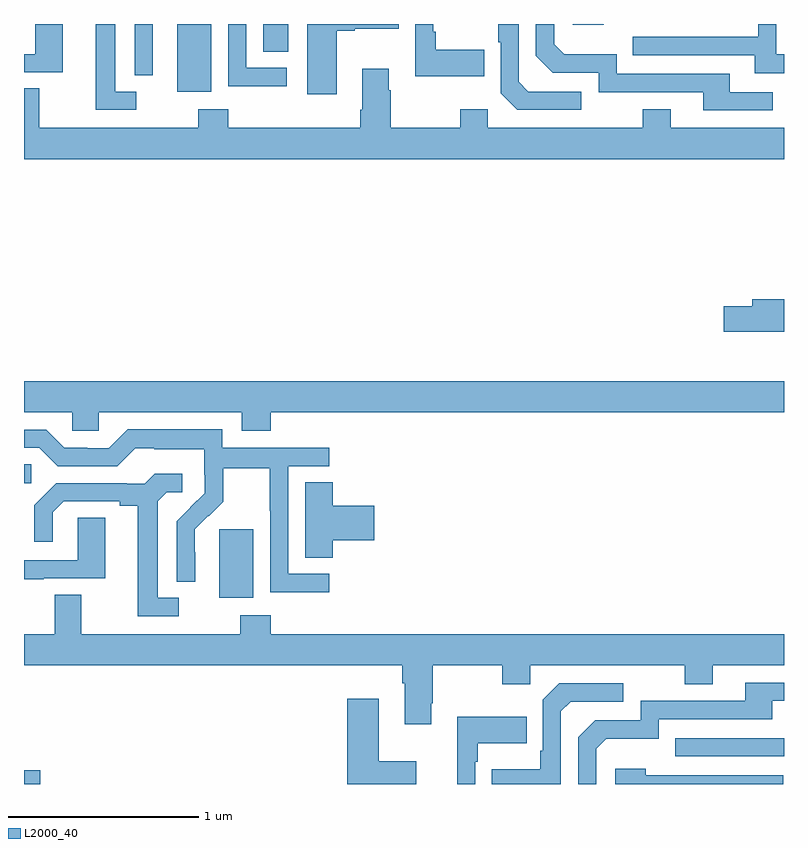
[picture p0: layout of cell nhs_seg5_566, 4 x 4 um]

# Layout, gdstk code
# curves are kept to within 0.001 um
import gdstk
lib = gdstk.Library(unit=1e-6, precision=1e-09)
def R(c, l, rs):  # rectangles x0, y0, x1, y1
    for r in rs: c.add(gdstk.rectangle(r[:2], r[2:], *l))
def P(c, l, *ps):  # polygons
    for p in ps: c.add(gdstk.Polygon(p, *l))
L2000_40 = (2000, 40)

nhs_seg5_566 = lib.new_cell('nhs_seg5_566')
R(nhs_seg5_566, L2000_40, [(147,858.799,147.085,858.872), (150.427,858.945,151,859.041), (148.028,859.778,148.207,860.139), (147,860.382,147.037,860.483), (147.806,862.442,147.985,862.799), (148.259,862.654,148.39,862.799), (149.889,862.796,150.05,862.799)])
P(nhs_seg5_566, L2000_40, [(150.94,862.44),(150.715,862.44),(150.715,862.536),(150.12,862.536),(150.12,862.639),(149.843,862.639),(149.79,862.692),(149.79,862.799),(149.694,862.799),(149.694,862.632),(149.784,862.542),(150.024,862.542),(150.024,862.44),(150.575,862.44),(150.575,862.344),(150.94,862.344)],
  [(151,862.641),(150.96,862.641),(150.96,862.799),(150.864,862.799),(150.864,862.731),(150.205,862.731),(150.205,862.635),(150.845,862.635),(150.845,862.541),(151,862.541)],
  [(149.932,862.443),(149.655,862.443),(149.604,862.494),(149.604,862.799),(149.496,862.799),(149.496,862.703),(149.508,862.703),(149.508,862.434),(149.595,862.347),(149.932,862.347)],
  [(147.205,862.799),(147.06,862.799),(147.06,862.641),(147,862.641),(147,862.545),(147.205,862.545)],
  [(148.645,862.763),(148.741,862.763),(148.741,862.775),(148.972,862.775),(148.972,862.799),(148.49,862.799),(148.49,862.428),(148.645,862.428)],
  [(148.384,862.569),(148.17,862.569),(148.17,862.799),(148.074,862.799),(148.074,862.471),(148.384,862.471)],
  [(147.678,862.682),(147.677,862.682),(147.677,862.799),(147.582,862.799),(147.582,862.528),(147.678,862.528)],
  [(149.423,862.663),(149.167,862.663),(149.167,862.759),(149.154,862.759),(149.154,862.799),(149.058,862.799),(149.058,862.523),(149.423,862.523)],
  [(147.592,862.443),(147.481,862.443),(147.481,862.799),(147.377,862.799),(147.377,862.347),(147.592,862.347)],
  [(151,862.252),(150.403,862.252),(150.403,862.351),(150.256,862.351),(150.256,862.252),(149.442,862.252),(149.442,862.351),(149.296,862.351),(149.296,862.252),(148.929,862.252),(148.929,862.451),(148.921,862.451),(148.921,862.564),(148.781,862.564),(148.781,862.348),(148.769,862.348),(148.769,862.252),(148.076,862.252),(148.076,862.351),(147.916,862.351),(147.916,862.252),(147.079,862.252),(147.079,862.46),(147,862.46),(147,862.088),(151,862.088)],
  [(151,861.35),(150.833,861.35),(150.833,861.314),(150.684,861.314),(150.684,861.179),(151,861.179)],
  [(148.298,860.756),(151,860.756),(151,860.92),(147,860.92),(147,860.756),(147.255,860.756),(147.255,860.658),(147.393,860.658),(147.393,860.756),(148.145,860.756),(148.145,860.657),(148.298,860.657)],
  [(148.606,859.905),(148.392,859.905),(148.392,860.472),(148.606,860.472),(148.606,860.568),(148.044,860.568),(148.044,860.665),(147.547,860.665),(147.447,860.565),(147.332,860.565),(147.332,860.568),(147.213,860.568),(147.117,860.664),(147,860.664),(147,860.568),(147.081,860.568),(147.177,860.472),(147.492,860.472),(147.585,860.565),(147.685,860.565),(147.685,860.561),(147.948,860.561),(147.948,860.427),(147.95,860.427),(147.95,860.33),(147.804,860.182),(147.804,859.864),(147.9,859.864),(147.899,860.141),(147.969,860.211),(147.972,860.208),(148.049,860.285),(148.049,860.46),(148.294,860.46),(148.294,860.236),(148.296,860.236),(148.296,859.807),(148.606,859.807)],
  [(147.814,859.779),(147.703,859.779),(147.703,860.287),(147.75,860.334),(147.832,860.334),(147.832,860.431),(147.688,860.431),(147.636,860.379),(147.542,860.379),(147.542,860.382),(147.17,860.382),(147.054,860.266),(147.054,860.073),(147.151,860.073),(147.151,860.229),(147.208,860.286),(147.503,860.286),(147.503,860.264),(147.599,860.264),(147.599,859.683),(147.814,859.683)],
  [(148.625,860.081),(148.843,860.081),(148.843,860.264),(148.625,860.264),(148.625,860.387),(148.481,860.387),(148.481,859.99),(148.625,859.99)],
  [(147.103,859.881),(147.427,859.881),(147.427,860.201),(147.282,860.201),(147.282,859.977),(147,859.977),(147,859.877),(147.103,859.877)],
  [(149.143,859.225),(149.151,859.225),(149.151,859.424),(149.518,859.424),(149.518,859.325),(149.664,859.325),(149.664,859.424),(150.478,859.424),(150.478,859.325),(150.625,859.325),(150.625,859.424),(151,859.424),(151,859.588),(148.298,859.588),(148.298,859.687),(148.138,859.687),(148.138,859.588),(147.301,859.588),(147.301,859.796),(147.161,859.796),(147.161,859.588),(147,859.588),(147,859.424),(148.991,859.424),(148.991,859.328),(149.003,859.328),(149.003,859.113),(149.143,859.113)],
  [(150.012,858.984),(150.065,859.037),(150.342,859.037),(150.342,859.14),(150.937,859.14),(150.937,859.236),(151,859.236),(151,859.332),(150.797,859.332),(150.797,859.236),(150.246,859.236),(150.246,859.134),(150.006,859.134),(149.916,859.044),(149.916,858.799),(150.012,858.799)],
  [(149.826,859.182),(149.877,859.233),(150.154,859.233),(150.154,859.329),(149.817,859.329),(149.73,859.242),(149.73,858.973),(149.718,858.973),(149.718,858.877),(149.461,858.877),(149.461,858.799),(149.826,858.799)],
  [(149.065,858.919),(148.867,858.919),(148.867,859.249),(148.7,859.249),(148.7,858.799),(149.065,858.799)],
  [(149.376,858.917),(149.389,858.917),(149.389,859.013),(149.645,859.013),(149.645,859.153),(149.279,859.153),(149.279,858.799),(149.376,858.799)],
  [(150.996,858.846),(150.272,858.846),(150.272,858.88),(150.111,858.88),(150.111,858.799),(150.996,858.799)])

lib.write_gds('nhs_seg5_566.gds')
